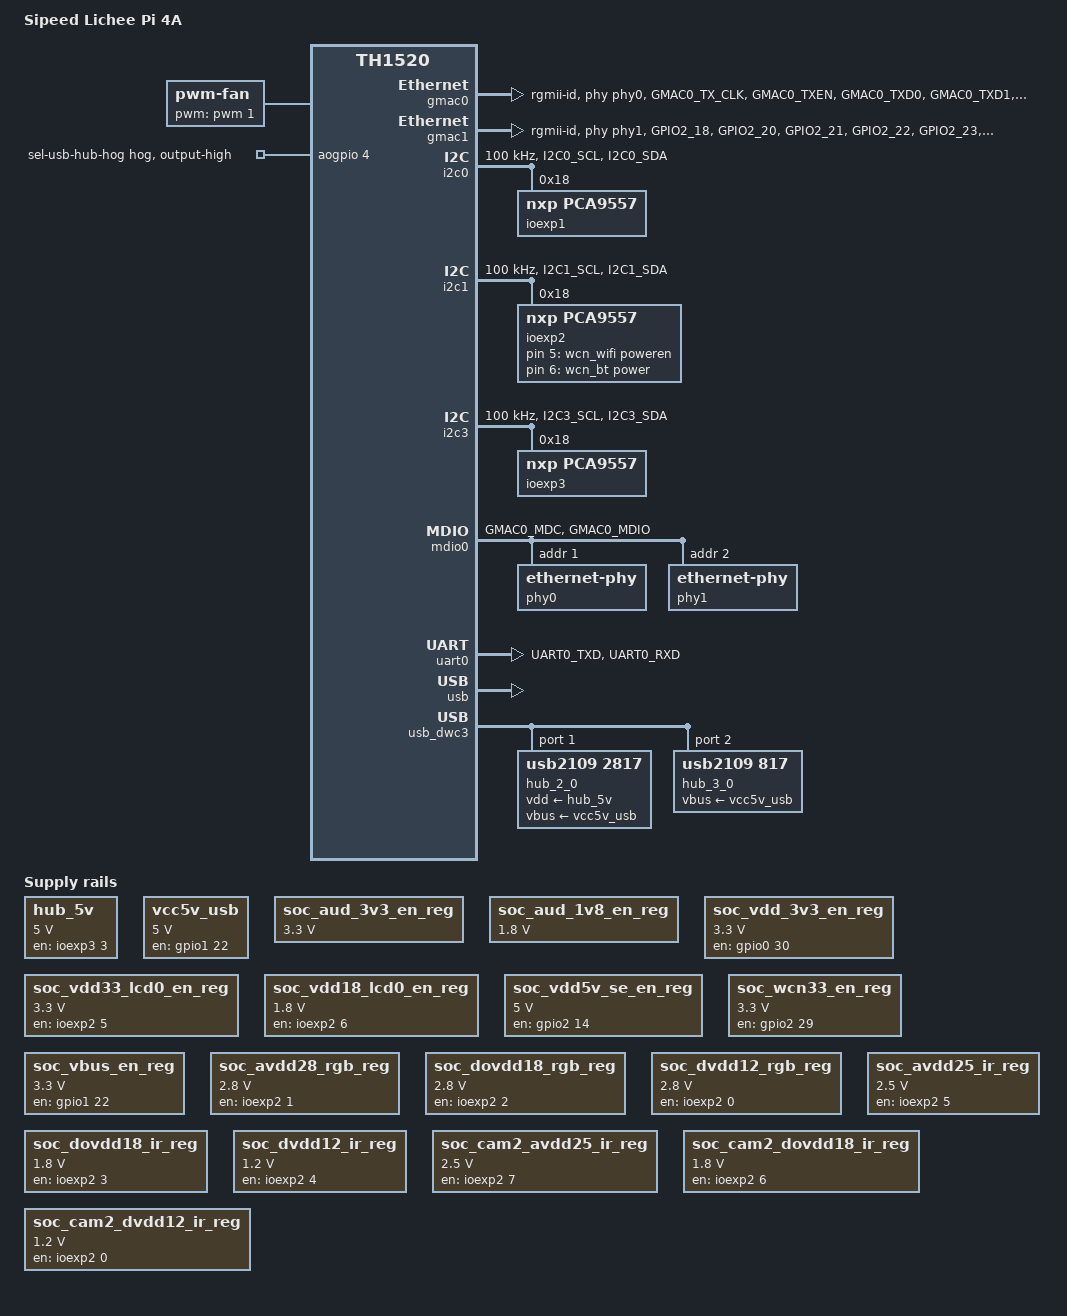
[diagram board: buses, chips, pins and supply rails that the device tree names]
// SPDX-License-Identifier: (GPL-2.0 OR MIT)
/*
 * Copyright (C) 2023 Jisheng Zhang <jszhang@kernel.org>
 */

#include "th1520-lichee-module-4a.dtsi"
#include <dt-bindings/gpio/gpio.h>

/ {
	model = "Sipeed Lichee Pi 4A";
	compatible = "sipeed,lichee-pi-4a", "sipeed,lichee-module-4a", "thead,th1520";

	aliases {
		ethernet0 = &gmac0;
		ethernet1 = &gmac1;
		gpio0 = &gpio0;
		gpio1 = &gpio1;
		gpio2 = &gpio2;
		gpio3 = &gpio3;
		gpio4 = &gpio4;
		gpio5 = &aogpio;
		serial0 = &uart0;
		serial1 = &uart1;
		serial2 = &uart2;
		serial3 = &uart3;
		serial4 = &uart4;
		serial5 = &uart5;
		i2c0 = &i2c0;
		i2c1 = &i2c1;
		i2c2 = &i2c2;
		i2c3 = &i2c3;
		i2c4 = &i2c4;
		i2c5 = &audio_i2c0;
		i2c6 = &audio_i2c1;
	};

	chosen {
		stdout-path = "serial0:115200n8";
	};

	fan: pwm-fan {
		pinctrl-names = "default";
		pinctrl-0 = <&fan_pins>;
		compatible = "pwm-fan";
		#cooling-cells = <2>;
		pwms = <&pwm 1 10000000 0>;
		cooling-levels = <0 66 196 255>;
	};

	hub_5v: regulator-hub_5v {
		compatible = "regulator-fixed";
		regulator-name = "HUB_5V";
		regulator-min-microvolt = <5000000>;
		regulator-max-microvolt = <5000000>;
		gpio = <&ioexp3 3 GPIO_ACTIVE_HIGH>;
		enable-active-high;
		regulator-always-on;
	};

	vcc5v_usb: regulator-vcc5v_usb {
		compatible = "regulator-fixed";
		regulator-name = "VCC5V_USB";
		regulator-min-microvolt = <5000000>;
		regulator-max-microvolt = <5000000>;
		gpio = <&gpio1 22 GPIO_ACTIVE_HIGH>;
		enable-active-high;
		regulator-always-on;
	};

	thermal-zones {
		cpu-thermal {
			polling-delay = <1000>;
			polling-delay-passive = <1000>;
			thermal-sensors = <&pvt 0>;

			trips {
				trip_active0: active-0 {
					temperature = <39000>;
					hysteresis = <5000>;
					type = "active";
				};

				trip_active1: active-1 {
					temperature = <50000>;
					hysteresis = <5000>;
					type = "active";
				};

				trip_active2: active-2 {
					temperature = <60000>;
					hysteresis = <5000>;
					type = "active";
				};
			};

			cooling-maps {
				map-active-0 {
					cooling-device = <&fan 1 1>;
					trip = <&trip_active0>;
				};

				map-active-1 {
					cooling-device = <&fan 2 2>;
					trip = <&trip_active1>;
				};

				map-active-2 {
					cooling-device = <&fan 3 3>;
					trip = <&trip_active2>;
				};
			};
		};
	};

	hub_5v: regulator-hub_5v {
		compatible = "regulator-fixed";
		regulator-name = "HUB_5V";
		regulator-min-microvolt = <5000000>;
		regulator-max-microvolt = <5000000>;
		gpio = <&ioexp3 3 GPIO_ACTIVE_HIGH>;
		enable-active-high;
		regulator-always-on;
	};

	vcc5v_usb: regulator-vcc5v_usb {
		compatible = "regulator-fixed";
		regulator-name = "VCC5V_USB";
		regulator-min-microvolt = <5000000>;
		regulator-max-microvolt = <5000000>;
		gpio = <&gpio1 22 GPIO_ACTIVE_HIGH>;
		enable-active-high;
		regulator-always-on;
	};

	wcn_wifi: wireless-wlan {
		compatible = "wlan-platdata";
		clock-names = "clk_wifi";
		ref-clock-frequency = <24000000>;
		keep_wifi_power_on;
		pinctrl-names = "default";
		wifi_chip_type = "rtl8723ds";
		WIFI,poweren_gpio = <&ioexp2 5 0>;
		status = "okay";
	};

	wcn_bt: wireless-bluetooth {
		compatible = "bluetooth-platdata";
		pinctrl-names = "default", "rts_gpio";
		BT,power_gpio    = <&ioexp2 6 0>;
		status = "okay";
	};

	aon: aon {
		compatible = "thead,light-aon";
		mbox-names = "aon";
		mboxes = <&mbox_910t 1 0>;
		status = "okay";

		pd: light-aon-pd {
			compatible = "thead,light-aon-pd";
			#power-domain-cells = <1>;
		};

		soc_aud_3v3_en_reg: soc_aud_3v3_en {
			compatible = "regulator-fixed";
			regulator-name = "soc_aud_3v3_en";
			regulator-min-microvolt = <3300000>;
			regulator-max-microvolt = <3300000>;
			enable-active-high;
			regulator-always-on;
		};

		soc_aud_1v8_en_reg: soc_aud_1v8_en {
			compatible = "regulator-fixed";
			regulator-name = "soc_aud_1v8_en";
			regulator-min-microvolt = <1800000>;
			regulator-max-microvolt = <1800000>;
			enable-active-high;
			regulator-always-on;
		};

		soc_vdd_3v3_en_reg: soc_vdd_3v3_en {
			compatible = "regulator-fixed";
			regulator-name = "soc_vdd_3v3_en";
			regulator-min-microvolt = <3300000>;
			regulator-max-microvolt = <3300000>;
			gpio = <&gpio0 30 1>;
			enable-active-high;
			regulator-always-on;
		};

		soc_vdd33_lcd0_en_reg: soc_lcd0_vdd33_en {
			compatible = "regulator-fixed";
			regulator-name = "soc_lcd0_vdd33_en";
			regulator-min-microvolt = <3300000>;
			regulator-max-microvolt = <3300000>;
			gpio = <&ioexp2 5 1>;
			enable-active-high;
		};

		soc_vdd18_lcd0_en_reg: soc_lcd0_vdd18_en {
			compatible = "regulator-fixed";
			regulator-name = "soc_lcd0_vdd18_en";
			regulator-min-microvolt = <1800000>;
			regulator-max-microvolt = <1800000>;
			gpio = <&ioexp2 6 1>;
			enable-active-high;
		};

		soc_vdd5v_se_en_reg: soc_vdd5v_se_en {
			compatible = "regulator-fixed";
			regulator-name = "soc_vdd5v_se_en";
			regulator-min-microvolt = <5000000>;
			regulator-max-microvolt = <5000000>;
			gpio = <&gpio2 14 1>;
			enable-active-high;
			regulator-always-on;
		};

		soc_wcn33_en_reg: soc_wcn33_en {
			compatible = "regulator-fixed";
			regulator-name = "soc_wcn33_en";
			regulator-min-microvolt = <3300000>;
			regulator-max-microvolt = <3300000>;
			gpio = <&gpio2 29 1>;
			enable-active-high;
			regulator-always-on;
		};

		soc_vbus_en_reg: soc_vbus_en {
			compatible = "regulator-fixed";
			regulator-name = "soc_vbus_en";
			regulator-min-microvolt = <3300000>;
			regulator-max-microvolt = <3300000>;
			gpio = <&gpio1 22 1>;
			enable-active-high;
			regulator-always-on;
		};


		soc_avdd28_rgb_reg: soc_avdd28_rgb {
			compatible = "regulator-fixed";
			regulator-name = "soc_avdd28_rgb";
			regulator-min-microvolt = <2800000>;
			regulator-max-microvolt = <2800000>;
			gpio = <&ioexp2 1 1>;
			enable-active-high;
		};

		soc_dovdd18_rgb_reg: soc_dovdd18_rgb {
			compatible = "regulator-fixed";
			regulator-name = "soc_dovdd18_rgb";
			regulator-min-microvolt = <2800000>;
			regulator-max-microvolt = <2800000>;
			gpio = <&ioexp2 2 1>;
			enable-active-high;
		};

		soc_dvdd12_rgb_reg: soc_dvdd12_rgb {
			compatible = "regulator-fixed";
			regulator-name = "soc_dvdd12_rgb";
			regulator-min-microvolt = <2800000>;
			regulator-max-microvolt = <2800000>;
			gpio = <&ioexp2 0 1>;
			enable-active-high;
		};

		soc_avdd25_ir_reg: soc_avdd25_ir {
			compatible = "regulator-fixed";
			regulator-name = "soc_avdd25_ir";
			regulator-min-microvolt = <2500000>;
			regulator-max-microvolt = <2500000>;
			gpio = <&ioexp2 5 1>;
			enable-active-high;
		};

		soc_dovdd18_ir_reg: soc_dovdd18_ir {
			compatible = "regulator-fixed";
			regulator-name = "soc_dovdd18_ir";
			regulator-min-microvolt = <1800000>;
			regulator-max-microvolt = <1800000>;
			gpio = <&ioexp2 3 1>;
			enable-active-high;
		};

		soc_dvdd12_ir_reg: soc_dvdd12_ir {
			compatible = "regulator-fixed";
			regulator-name = "soc_dvdd12_ir";
			regulator-min-microvolt = <1200000>;
			regulator-max-microvolt = <1200000>;
			gpio = <&ioexp2 4 1>;
			enable-active-high;
		};

		soc_cam2_avdd25_ir_reg: soc_cam2_avdd25_ir {
			compatible = "regulator-fixed";
			regulator-name = "soc_cam2_avdd25_ir";
			regulator-min-microvolt = <2500000>;
			regulator-max-microvolt = <2500000>;
			gpio = <&ioexp2 7 1>;
			enable-active-high;
		};

		soc_cam2_dovdd18_ir_reg: soc_cam2_dovdd18_ir {
			compatible = "regulator-fixed";
			regulator-name = "soc_cam2_dovdd18_ir";
			regulator-min-microvolt = <1800000>;
			regulator-max-microvolt = <1800000>;
			gpio = <&ioexp2 6 1>;
			enable-active-high;
		};

		soc_cam2_dvdd12_ir_reg: soc_cam2_dvdd12_ir {
			compatible = "regulator-fixed";
			regulator-name = "soc_cam2_dvdd12_ir";
			regulator-min-microvolt = <1200000>;
			regulator-max-microvolt = <1200000>;
			gpio = <&ioexp2 0 1>;
			enable-active-high;
		};

		aon_reg_dialog: light-dialog-reg {
			compatible = "thead,light-dialog-pmic-ant";
			status = "okay";

			dvdd_cpu_reg: appcpu_dvdd {
				regulator-name = "appcpu_dvdd";
				regulator-min-microvolt = <300000>;
				regulator-max-microvolt = <1570000>;
				regulator-boot-on;
				regulator-always-on;
			};

			dvddm_cpu_reg: appcpu_dvddm {
				regulator-name = "appcpu_dvddm";
				regulator-min-microvolt = <300000>;
				regulator-max-microvolt = <1570000>;
				regulator-boot-on;
				regulator-always-on;
			};

			soc_dvdd18_aon_reg: soc_dvdd18_aon {
				regulator-name = "soc_dvdd18_aon";
				regulator-boot-on;
				regulator-always-on;
			};

			soc_avdd33_usb3_reg: soc_avdd33_usb3 {
				regulator-name = "soc_avdd33_usb3";
				regulator-boot-on;
				regulator-always-on;
			};

			soc_dvdd08_aon_reg: soc_dvdd08_aon {
				regulator-name = "soc_dvdd08_aon";
				regulator-boot-on;
				regulator-always-on;
			};

			soc_dvdd08_ddr_reg: soc_dvdd08_ddr {
				regulator-name = "soc_dvdd08_ddr";
				regulator-boot-on;
				regulator-always-on;
			};

			soc_vdd_ddr_1v8_reg: soc_vdd_ddr_1v8 {
				regulator-name = "soc_vdd_ddr_1v8";
				regulator-boot-on;
				regulator-always-on;
			};

			soc_vdd_ddr_1v1_reg: soc_vdd_ddr_1v1 {
				regulator-name = "soc_vdd_ddr_1v1";
				regulator-boot-on;
				regulator-always-on;
			};

			soc_vdd_ddr_0v6_reg: soc_vdd_ddr_0v6 {
				regulator-name = "soc_vdd_ddr_0v6";
				regulator-boot-on;
				regulator-always-on;
			};

			soc_dvdd18_ap_reg: soc_dvdd18_ap {
				regulator-name = "soc_dvdd18_ap";
				regulator-boot-on;
				regulator-always-on;
			};

			soc_avdd08_mipi_hdmi_reg: soc_avdd08_mipi_hdmi {
				regulator-name = "soc_avdd08_mipi_hdmi";
				regulator-boot-on;
				regulator-always-on;
			};

			soc_avdd18_mipi_hdmi_reg: soc_avdd18_mipi_hdmi {
				regulator-name = "soc_avdd18_mipi_hdmi";
				regulator-boot-on;
				regulator-always-on;
			};

			soc_vdd33_emmc_reg: soc_vdd33_emmc {
				regulator-name = "soc_vdd33_emmc";
				regulator-boot-on;
				regulator-always-on;
			};

			soc_vdd18_emmc_reg: soc_vdd18_emmc {
				regulator-name = "soc_vdd18_emmc";
				regulator-boot-on;
				regulator-always-on;
			};

			soc_dovdd18_scan_reg: soc_dovdd18_scan {
				regulator-name = "soc_dovdd18_scan";
				regulator-min-microvolt = <900000>;
				regulator-max-microvolt = <3600000>;
			};

			soc_dvdd12_scan_reg: soc_dvdd12_scan {
				regulator-name = "soc_dvdd12_scan";
				regulator-min-microvolt = <900000>;
				regulator-max-microvolt = <3600000>;
			};

			soc_avdd28_scan_en_reg: soc_avdd28_scan_en {
				regulator-name = "soc_avdd28_scan_en";
				regulator-min-microvolt = <900000>;
				regulator-max-microvolt = <3600000>;
			};

		};

		c910_cpufreq {
			compatible = "thead,light-mpw-cpufreq";
			status = "okay";
		};

		test: light-aon-test {
			compatible = "thead,light-aon-test";
		};
	};
	
};

&aogpio {
	sel-usb-hub-hog {
		gpio-hog;
		gpios = <4 GPIO_ACTIVE_HIGH>;
		output-high;
	};
};

&gmac0 {
	pinctrl-names = "default";
	pinctrl-0 = <&gmac0_pins>;
	phy-handle = <&phy0>;
	phy-mode = "rgmii-id";
	status = "okay";
};

&gmac1 {
	pinctrl-names = "default";
	pinctrl-0 = <&gmac1_pins>;
	phy-handle = <&phy1>;
	phy-mode = "rgmii-id";
	status = "okay";
};

&i2c0 {
	pinctrl-names = "default";
	pinctrl-0 = <&i2c0_pins>;
	clock-frequency = <100000>;
	i2c-sda-hold-time-ns = <300>;
	i2c-sda-falling-time-ns = <510>;
	i2c-scl-falling-time-ns = <510>;
	status = "okay";

	ioexp1: gpio@18 {
		compatible = "nxp,pca9557";
		reg = <0x18>;
		gpio-controller;
		#gpio-cells = <2>;
		gpio-line-names = "cam0_dvdd12",
				  "cam0_avdd28",
				  "cam0_dovdd18";
	};
};

&i2c1 {
	pinctrl-names = "default";
	pinctrl-0 = <&i2c1_pins>;
	clock-frequency = <100000>;
	i2c-sda-hold-time-ns = <300>;
	i2c-sda-falling-time-ns = <510>;
	i2c-scl-falling-time-ns = <510>;
	status = "okay";

	ioexp2: gpio@18 {
		compatible = "nxp,pca9557";
		reg = <0x18>;
		gpio-controller;
		#gpio-cells = <2>;
		gpio-line-names = "",
				  "cam0_reset",
				  "cam1_reset",
				  "cam2_reset",
				  "wl_host_wake",
				  "bt_resetn",
				  "",
				  "bt_host_wake";
	};
};

&i2c3 {
	pinctrl-names = "default";
	pinctrl-0 = <&i2c3_pins>;
	clock-frequency = <100000>;
	i2c-sda-hold-time-ns = <300>;
	i2c-sda-falling-time-ns = <510>;
	i2c-scl-falling-time-ns = <510>;
	status = "okay";

	ioexp3: gpio@18 {
		compatible = "nxp,pca9557";
		reg = <0x18>;
		gpio-controller;
		#gpio-cells = <2>;
		gpio-line-names = "tp0_rst",
				  "",
				  "",
				  "vcc5v_usb",
				  "vdd28_tp0",
				  "vdd33_lcd0",
				  "vdd18_lcd0",
				  "lcd0_reset";
	};
};

&mdio0 {
	pinctrl-names = "default";
	pinctrl-0 = <&mdio0_pins>;

	phy0: ethernet-phy@1 {
		reg = <1>;
	};

	phy1: ethernet-phy@2 {
		reg = <2>;
	};
};

&padctrl0_apsys {
	fan_pins: fan-0 {
		pwm1-pins {
			pins = "GPIO3_3"; /* PWM1 */
			function = "pwm";
			bias-disable;
			drive-strength = <25>;
			input-disable;
			input-schmitt-disable;
			slew-rate = <0>;
		};
	};

	gmac0_pins: gmac0-0 {
		tx-pins {
			pins = "GMAC0_TX_CLK",
			       "GMAC0_TXEN",
			       "GMAC0_TXD0",
			       "GMAC0_TXD1",
			       "GMAC0_TXD2",
			       "GMAC0_TXD3";
			function = "gmac0";
			bias-disable;
			drive-strength = <25>;
			input-disable;
			input-schmitt-disable;
			slew-rate = <0>;
		};

		rx-pins {
			pins = "GMAC0_RX_CLK",
			       "GMAC0_RXDV",
			       "GMAC0_RXD0",
			       "GMAC0_RXD1",
			       "GMAC0_RXD2",
			       "GMAC0_RXD3";
			function = "gmac0";
			bias-disable;
			drive-strength = <1>;
			input-enable;
			input-schmitt-disable;
			slew-rate = <0>;
		};
	};

	gmac1_pins: gmac1-0 {
		tx-pins {
			pins = "GPIO2_18", /* GMAC1_TX_CLK */
			       "GPIO2_20", /* GMAC1_TXEN */
			       "GPIO2_21", /* GMAC1_TXD0 */
			       "GPIO2_22", /* GMAC1_TXD1 */
			       "GPIO2_23", /* GMAC1_TXD2 */
			       "GPIO2_24"; /* GMAC1_TXD3 */
			function = "gmac1";
			bias-disable;
			drive-strength = <25>;
			input-disable;
			input-schmitt-disable;
			slew-rate = <0>;
		};

		rx-pins {
			pins = "GPIO2_19", /* GMAC1_RX_CLK */
			       "GPIO2_25", /* GMAC1_RXDV */
			       "GPIO2_30", /* GMAC1_RXD0 */
			       "GPIO2_31", /* GMAC1_RXD1 */
			       "GPIO3_0",  /* GMAC1_RXD2 */
			       "GPIO3_1";  /* GMAC1_RXD3 */
			function = "gmac1";
			bias-disable;
			drive-strength = <1>;
			input-enable;
			input-schmitt-disable;
			slew-rate = <0>;
		};
	};

	i2c3_pins: i2c3-0 {
		i2c-pins {
			pins = "I2C3_SCL", "I2C3_SDA";
			function = "i2c";
			bias-disable;
			drive-strength = <7>;
			input-enable;
			input-schmitt-enable;
			slew-rate = <0>;
		};
	};

	mdio0_pins: mdio0-0 {
		mdc-pins {
			pins = "GMAC0_MDC";
			function = "gmac0";
			bias-disable;
			drive-strength = <13>;
			input-disable;
			input-schmitt-disable;
			slew-rate = <0>;
		};

		mdio-pins {
			pins = "GMAC0_MDIO";
			function = "gmac0";
			bias-disable;
			drive-strength = <13>;
			input-enable;
			input-schmitt-enable;
			slew-rate = <0>;
		};
	};

	uart0_pins: uart0-0 {
		tx-pins {
			pins = "UART0_TXD";
			function = "uart";
			bias-disable;
			drive-strength = <3>;
			input-disable;
			input-schmitt-disable;
			slew-rate = <0>;
		};

		rx-pins {
			pins = "UART0_RXD";
			function = "uart";
			bias-disable;
			drive-strength = <1>;
			input-enable;
			input-schmitt-enable;
			slew-rate = <0>;
		};
	};
};

&padctrl1_apsys {
	i2c0_pins: i2c0-0 {
		i2c-pins {
			pins = "I2C0_SCL", "I2C0_SDA";
			function = "i2c";
			bias-disable;
			drive-strength = <7>;
			input-enable;
			input-schmitt-enable;
			slew-rate = <0>;
		};
	};

	i2c1_pins: i2c1-0 {
		i2c-pins {
			pins = "I2C1_SCL", "I2C1_SDA";
			function = "i2c";
			bias-disable;
			drive-strength = <7>;
			input-enable;
			input-schmitt-enable;
			slew-rate = <0>;
		};
	};
};

&uart0 {
	pinctrl-names = "default";
	pinctrl-0 = <&uart0_pins>;
	status = "okay";
};

&usb {
	status = "okay";
};

&usb_dwc3 {
	status = "okay";
	#address-cells = <1>;
	#size-cells = <0>;

	hub_2_0: hub@1 {
		compatible = "usb2109,2817";
		reg = <1>;
		peer-hub = <&hub_3_0>;
		vdd-supply = <&hub_5v>;
		vbus-supply = <&vcc5v_usb>;
	};

	hub_3_0: hub@2 {
		compatible = "usb2109,817";
		reg = <2>;
		peer-hub = <&hub_2_0>;
		vbus-supply = <&vcc5v_usb>;
	};
};
